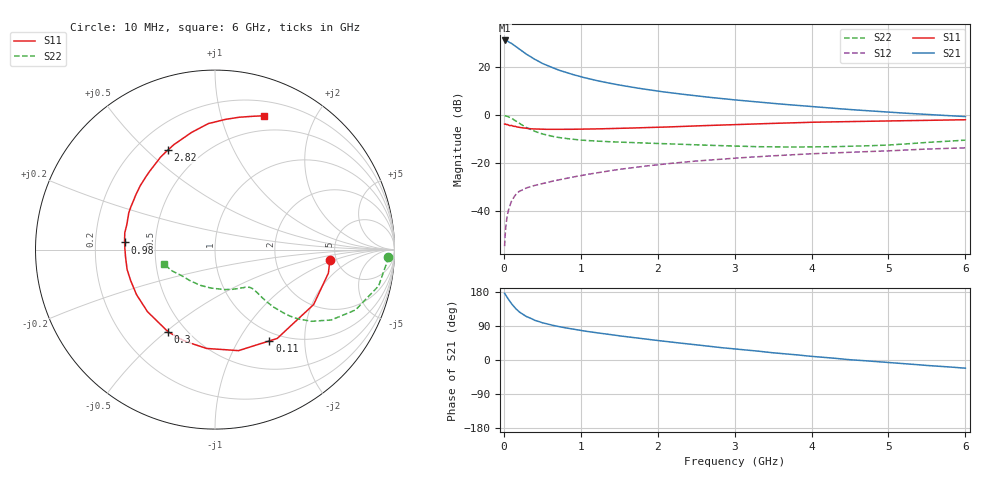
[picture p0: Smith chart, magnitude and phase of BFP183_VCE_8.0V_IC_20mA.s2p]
! Infineon Technologies  Discrete & RF Semiconductors
! BFP183
! VCE = 8.0 V,  IC =  20 mA
! Common Emitter S-Parameters:  Jan 2016
# GHz  S  MA  R  50
!  f  S11  S21  S12  S22
! GHz  MAG  ANG  MAG  ANG  MAG  ANG  MAG  ANG
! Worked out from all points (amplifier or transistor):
!   210 points, 10 MHz to 6 GHz, reference 50 ohm
!   highest |S21| = 31.2 dB at 10 MHz (marker M1)
!   |S21| within 3 dB of that: start of sweep to 175.8 MHz
!   unconditionally stable (mu >= 1): 947.8 MHz to 5.835 GHz
!   at 185 MHz: K = 0.35, MSG = 30.2 dB, |S12| = -32.4 dB
!   at 1.52 GHz: K = 1.11, MAG = 15.5 dB, |S12| = -22.7 dB
!   at 6 GHz: K = 0.98, MSG = 6.5 dB, |S12| = -13.8 dB
!   S11 on the Smith chart (normalised r, x): 10 MHz: 4.40, -0.91; 110 MHz: 0.87, -1.37; 300 MHz: 0.40, -0.51; 980 MHz: 0.33, +0.04; 2.82 GHz: 0.33, +0.58; 6 GHz: 0.34, +1.37
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0.01  0.6429 -5.4  36.13 176.0  0.0018 86.6  0.966 -2.4
0.02  0.6452 -11.7  35.8 173.0  0.0036 86.2  0.9572 -5.0
0.05  0.6291 -29.1  34.8 162.9  0.0088 78.5  0.934 -12.5
0.1  0.6043 -55.0  31.28 148.3  0.0157 67.8  0.8525 -23.2
0.11  0.5923 -59.2  30.41 146.1  0.0168 65.7  0.8322 -24.7
0.15  0.5779 -76.9  27.46 136.3  0.0212 59.4  0.757 -31.2
0.2  0.5527 -94.8  23.98 126.9  0.0252 54.3  0.6702 -36.6
0.26  0.5341 -110.8  20.32 118.5  0.028 50.8  0.5851 -40.6
0.3  0.5272 -119.8  18.37 114.1  0.03 49.5  0.5377 -42.3
0.4  0.511 -137.4  14.63 104.8  0.0335 47.8  0.4558 -44.5
0.5  0.5041 -150.1  11.97 98.3  0.0367 47.7  0.4012 -45.4
0.6  0.5006 -159.7  10.25 93.1  0.0401 47.9  0.365 -45.5
0.7  0.5021 -167.3  8.8 88.7  0.0434 48.8  0.3399 -45.6
0.98  0.5049 175.5  6.423 78.8  0.053 50.6  0.3006 -46.2
1.02  0.5069 173.3  6.175 77.4  0.0545 50.7  0.2968 -46.4
1.5  0.5254 153.9  4.227 63.8  0.0727 50.5  0.2698 -50.8
2.02  0.5534 136.2  3.118 51.0  0.0916 47.9  0.2528 -59.2
2.82  0.6137 115.3  2.209 32.7  0.1189 41.5  0.2282 -77.2
3.1  0.6342 109.2  1.997 27.3  0.1277 39.2  0.2202 -84.7
4.1  0.707 91.5  1.455 8.0  0.1565 30.5  0.215 -115.5
5.1  0.753 78.7  1.117 -8.1  0.1805 23.1  0.2402 -144.0
6  0.7935 70.0  0.925 -21.6  0.2052 15.1  0.2973 -164.4
